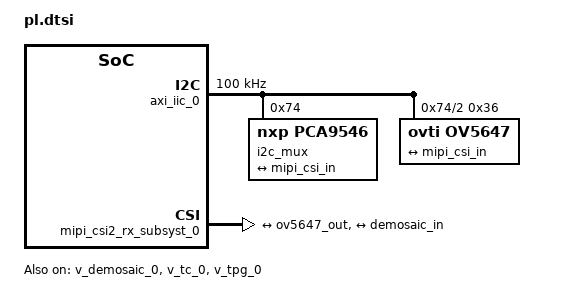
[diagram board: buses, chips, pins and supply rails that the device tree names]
/*
 * KV260 OV5647 camera pipeline
 *
 * I2C topology:
 *
 *   AXI IIC @ 0x80040000
 *       |
 *       +-- PCA9546 @ 0x74
 *               |
 *               +-- Channel 2
 *                       |
 *                       +-- OV5647 @ 0x36
 *
 * Video topology:
 *
 *   OV5647
 *       -> MIPI CSI-2 RX
 *       -> Sensor Demosaic
 *       -> TPG input
 */

/dts-v1/;
/plugin/;


/*
 * FPGA region and PL clocks
 */
&fpga_full {
	firmware-name = "ov5647stream.bit.bin";
	resets = <&zynqmp_reset 116>;

	clocking0: clocking0 {
		compatible = "xlnx,fclk";

		#clock-cells = <0>;

		assigned-clocks = <&zynqmp_clk 71>;
		assigned-clock-rates = <99999001>;

		clock-output-names = "fabric_clk";
		clocks = <&zynqmp_clk 71>;
	};

	afi0: afi0 {
		compatible = "xlnx,afi-fpga";

		config-afi =
			<0 0>,
			<1 0>,
			<2 0>,
			<3 0>,
			<4 0>,
			<5 0>,
			<6 0>,
			<7 0>,
			<8 0>,
			<9 0>,
			<10 0>,
			<11 0>,
			<12 0>,
			<13 0>,
			<14 0xa00>,
			<15 0x200>;

		resets =
			<&zynqmp_reset 116>,
			<&zynqmp_reset 117>,
			<&zynqmp_reset 118>,
			<&zynqmp_reset 119>;
	};

	/*
	 * 200 MHz D-PHY reference clock.
	 *
	 * The source FCLK is approximately 100 MHz.
	 */
	misc_clk_0: misc-clk-0 {
		compatible = "fixed-factor-clock";

		#clock-cells = <0>;

		clocks = <&zynqmp_clk 71>;
		clock-div = <1>;
		clock-mult = <2>;
	};

	/*
	 * Approximately 100 MHz AXI/video clock.
	 */
	misc_clk_1: misc-clk-1 {
		compatible = "fixed-factor-clock";

		#clock-cells = <0>;

		clocks = <&zynqmp_clk 71>;
		clock-div = <1>;
		clock-mult = <1>;
	};

	/*
	 * The camera module provides a non-controllable reference clock.
	 * This node describes that clock to the OV5647 driver.
	 */
	ov5647_xclk: ov5647-xclk {
		compatible = "fixed-clock";

		#clock-cells = <0>;
		clock-frequency = <25000000>;
	};
};


/*
 * Programmable-logic peripherals
 */
&amba {
	#address-cells = <2>;
	#size-cells = <2>;


	/*
	 * AXI IIC controller
	 */
	axi_iic_0: i2c@80040000 {
		compatible =
			"xlnx,axi-iic-2.1",
			"xlnx,xps-iic-2.00.a";

		reg = <0x0 0x80040000 0x0 0x10000>;

		clock-names = "s_axi_aclk";
		clocks = <&zynqmp_clk 71>;

		/*
		 * Start at 100 kHz for camera bring-up.
		 * Change to 400000 after reliable operation is confirmed.
		 */
		clock-frequency = <100000>;

		interrupt-names = "iic2intc_irpt";
		interrupt-parent = <&gic>;
		interrupts = <0 90 4>;

		#address-cells = <1>;
		#size-cells = <0>;

		status = "okay";

		/*
		 * KV260 carrier-card PCA9546 four-channel I2C mux.
		 */
		i2c_mux: i2c-mux@74 {
			compatible = "nxp,pca9546";
			reg = <0x74>;

			#address-cells = <1>;
			#size-cells = <0>;

			//i2c-mux-idle-disconnect;

			/*
			 * Channel 2 is connected to the Raspberry Pi
			 * camera connector J9.
			 */
			i2c_rpi: i2c@2 {
				reg = <2>;

				#address-cells = <1>;
				#size-cells = <0>;

				ov5647: camera@36 {
					compatible = "ovti,ov5647";
					reg = <0x36>;

					clocks = <&ov5647_xclk>;

					status = "okay";

					port {
						ov5647_out: endpoint {
							data-lanes = <1 2>;
							clock-noncontinuous;

							remote-endpoint =
								<&mipi_csi_in>;
						};
					};
				};
			};
		};
	};


	/*
	 * MIPI CSI-2 Receiver Subsystem
	 *
	 * 0x2b is the MIPI CSI-2 RAW10 data type.
	 */
	mipi_csi2_rx_subsyst_0:
	mipi-csi2-rx-subsystem@80020000 {
		compatible =
			"xlnx,mipi-csi2-rx-subsystem-6.0",
			"xlnx,mipi-csi2-rx-subsystem-5.0";

		reg = <0x0 0x80020000 0x0 0x1000>;

		clock-names =
			"dphy_clk_200M",
			"lite_aclk",
			"video_aclk";

		clocks =
			<&misc_clk_0>,
			<&zynqmp_clk 71>,
			<&misc_clk_1>;

		interrupt-names = "csirxss_csi_irq";
		interrupt-parent = <&gic>;
		interrupts = <0 89 4>;

		xlnx,axis-tdata-width = <32>;
		xlnx,csi-pxl-format = <0x2b>;
		xlnx,max-lanes = <2>;
		xlnx,ppc = <1>;
		xlnx,vc = <4>;
		xlnx,vfb;

		status = "okay";

		mipi_csi_ports: ports {
			#address-cells = <1>;
			#size-cells = <0>;

			/*
			 * Sink from the OV5647.
			 */
			port@0 {
				reg = <0>;

				mipi_csi_in: endpoint {
					data-lanes = <1 2>;
					clock-noncontinuous;

					remote-endpoint =
						<&ov5647_out>;
				};
			};

			/*
			 * RAW10 source to the demosaic block.
			 */
			port@1 {
				reg = <1>;

				mipi_csi_out: endpoint {
					remote-endpoint =
						<&demosaic_in>;
				};
			};
		};
	};


	/*
	 * Sensor Demosaic
	 */
	v_demosaic_0: v-demosaic@80030000 {
		compatible =
			"xlnx,v-demosaic-1.1",
			"xlnx,v-demosaic";

		reg = <0x0 0x80030000 0x0 0x10000>;

		clock-names = "ap_clk";
		clocks = <&misc_clk_1>;

		interrupt-names = "interrupt";
		interrupt-parent = <&gic>;
		interrupts = <0 91 4>;

		xlnx,max-height = <1080>;
		xlnx,max-width = <1920>;
		xlnx,s-axi-ctrl-addr-width = <0x6>;
		xlnx,s-axi-ctrl-data-width = <0x20>;

		status = "okay";

		demosaic_ports: ports {
			#address-cells = <1>;
			#size-cells = <0>;

			/*
			 * RAW10 sink from the CSI-2 RX.
			 */
			port@0 {
				reg = <0>;

				demosaic_in: endpoint {
					remote-endpoint =
						<&mipi_csi_out>;
				};
			};

			/*
			 * RGB source to the TPG input.
			 */
			port@1 {
				reg = <1>;

				demosaic_out: endpoint {
					remote-endpoint =
						<&tpg_in>;
				};
			};
		};
	};


	/*
	 * Video Timing Controller
	 */
	v_tc_0: v-tc@80000000 {
		compatible =
			"xlnx,v-tc-6.2",
			"xlnx,v-tc-6.1",
			"xlnx,bridge-v-tc-6.1";

		reg = <0x0 0x80000000 0x0 0x10000>;

		clock-names = "clk", "s_axi_aclk";
		clocks = <&misc_clk_1>, <&zynqmp_clk 71>;

		interrupt-names = "irq";
		interrupt-parent = <&gic>;
		interrupts = <0 93 4>;

		xlnx,generator;
		xlnx,pixels-per-clock = <1>;

		status = "okay";
	};


	/*
	 * Video Test Pattern Generator
	 *
	 * The input is connected to the demosaic RGB output.
	 * Configure the TPG for pass-through mode at runtime.
	 */
	v_tpg_0: v-tpg@80010000 {
		compatible =
			"xlnx,v-tpg-8.2",
			"xlnx,v-tpg-8.0";

		reg = <0x0 0x80010000 0x0 0x10000>;

		clock-names = "ap_clk";
		clocks = <&misc_clk_1>;

		interrupt-names = "interrupt";
		interrupt-parent = <&gic>;
		interrupts = <0 92 4>;

		xlnx,max-height = <1080>;
		xlnx,max-width = <1920>;
		xlnx,ppc = <1>;
		xlnx,s-axi-ctrl-addr-width = <8>;
		xlnx,s-axi-ctrl-data-width = <32>;

		status = "okay";

		tpg_ports: ports {
			#address-cells = <1>;
			#size-cells = <0>;

			/*
			 * RGB sink from Demosaic.
			 */
			port@0 {
				reg = <0>;

				xlnx,video-format = <2>;
				xlnx,video-width = <8>;

				tpg_in: endpoint {
					remote-endpoint =
						<&demosaic_out>;
				};
			};

			/*
			 * RGB output to the downstream hardware pipeline.
			 */
			port@1 {
				reg = <1>;

				xlnx,video-format = <2>;
				xlnx,video-width = <8>;
			};
		};
	};
};
